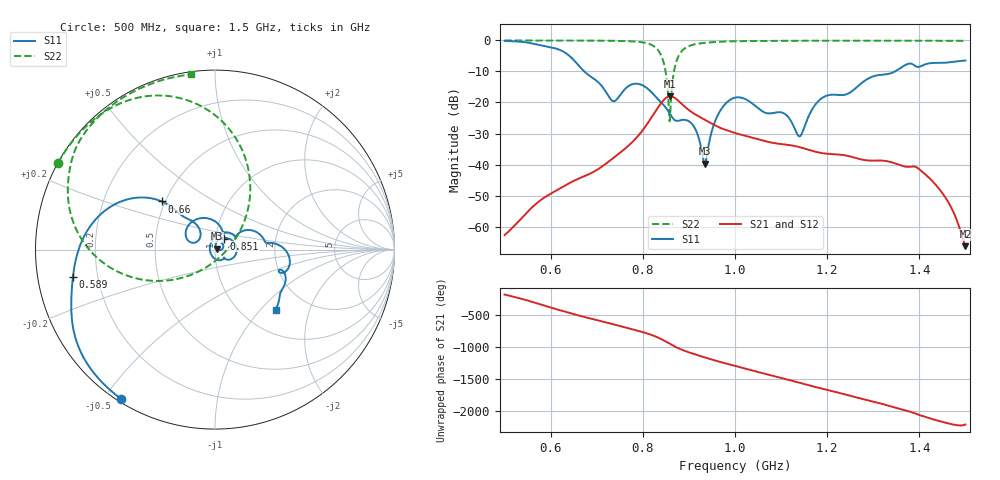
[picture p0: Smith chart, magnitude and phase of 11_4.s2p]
! TOUCHSTONE file generated by CST MICROWAVE STUDIO
! Date and time: Wed Oct 28 19:15:20 2020
! Project name: Scenario_1_Circular_Tissue_out_of_Line.cst
! Parameters = {dy1=-172.59; L_HA=400; MT=2.54; Rad_Dielectric=30; Rad_Lower=7.3; Rad_Upper=30; a_HA=580; a_WG=246; b_HA=500; b_WG=121; c_HA=0; c_WG=187; d_feed=85; dx1=693; h_feed=15; h_lower=18; h_upper=40}
! Header version: 2018
! Port assignment regex: !\s*Touchstone port\s*([0-9]+)\s*=\s*(CST MWS port|CST DS port)\s*([0-9]+|Zmin|Zmax)\s*\(\"(.*)\"\)(\s*mode\s*([0-9]+))?.*
! Touchstone port assignment:
! Touchstone port 1 = CST MWS port 1 ("")
! Touchstone port 2 = CST MWS port 2 ("")
# GHz S DB R 50
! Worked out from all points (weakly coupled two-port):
!   1001 points, 500 MHz to 1.5 GHz, reference 50 ohm
!   highest |S21| = -18.02 dB at 859 MHz (marker M1); lowest = -66.3 dB at 1.5 GHz (marker M2)
!   lowest |S11| = -39.7 dB at 934 MHz (marker M3), VSWR 1.02, Z = 50.9 + j0.548 ohm
!   |S11| at or under -10 dB: 673 MHz to 1.347 GHz (674.3 MHz wide, 66.8 % of centre)
!   |S22| runs from -26.0 to 0.0 dB; largest |S21 - S12| = 0.00062
!   S11 on the Smith chart (normalised r, x): 500 MHz: 0.01, -0.55; 589 MHz: 0.11, -0.09; 660 MHz: 0.48, +0.31; 851 MHz: 1.10, +0.14; 1.5 GHz: 1.40, -1.22
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0.5  -0.15 -122.2  -62.71 -171.5  -62.63 -171.6  -0.01 151.1
0.589  -1.87 -169.0  -50.37 8.6  -50.29 8.1  -0.02 145.0
0.66  -7.96 137.9  -44.57 -138.4  -44.58 -138.5  -0.04 139.0
0.667  -9.10 135.9  -44.13 -152.1  -44.14 -152.1  -0.04 138.4
0.735  -19.53 143.9  -37.99 84.1  -38.00 84.2  -0.12 130.1
0.785  -13.93 132.2  -31.55 -10.5  -31.54 -10.6  -0.38 118.7
0.834  -19.12 67.5  -21.38 -129.9  -21.37 -130.0  -3.32 83.8
0.851  -21.89 50.0  -18.43 167.2  -18.45 167.2  -11.65 47.8
0.859  -23.68 43.5  -18.02 134.2  -18.02 134.2  -25.06 -77.2
0.869  -25.66 43.8  -18.49 94.7  -18.51 94.8  -8.91 -150.8
0.88  -25.77 43.9  -19.84 56.8  -19.84 57.0  -4.37 -171.4
0.91  -27.57 5.9  -23.47 -22.0  -23.48 -22.0  -1.34 162.2
0.934  -39.72 31.5  -25.53 -76.9  -25.52 -77.0  -0.79 153.1
0.962  -24.27 66.8  -27.76 -136.7  -27.75 -136.5  -0.46 146.6
1  -18.45 9.0  -29.81 149.9  -29.81 149.8  -0.26 140.3
1.107  -23.57 -63.6  -33.52 -52.2  -33.49 -52.2  -0.12 129.1
1.139  -30.89 -167.4  -34.34 -114.6  -34.34 -114.7  -0.11 126.5
1.167  -22.32 85.7  -35.56 -167.3  -35.57 -167.2  -0.10 124.2
1.334  -10.75 7.4  -39.04 -118.3  -39.07 -118.3  -0.09 111.5
1.431  -7.25 -27.0  -45.76 29.6  -45.76 29.6  -0.11 103.8
1.469  -6.98 -36.6  -53.76 -43.2  -53.73 -42.4  -0.12 100.7
1.5  -6.46 -44.8  -66.30 -50.5  -66.18 -48.2  -0.13 97.9
